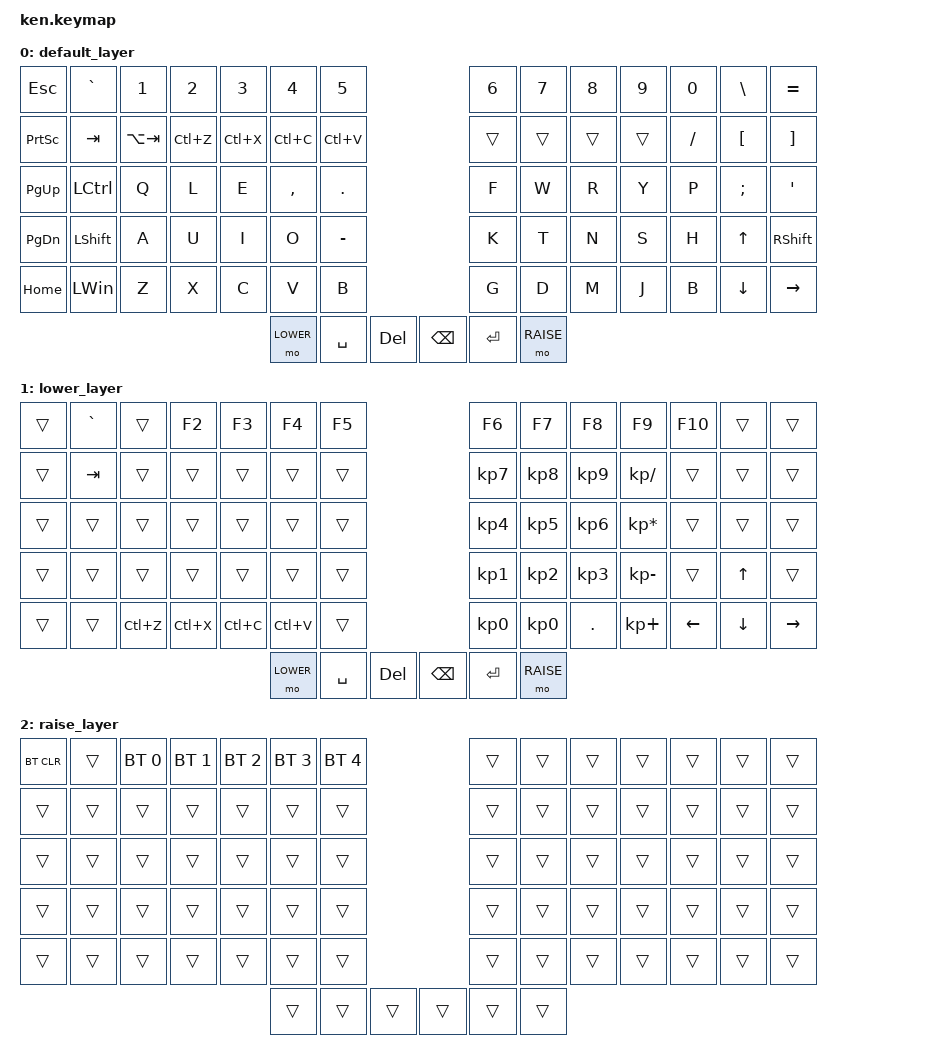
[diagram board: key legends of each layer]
#include <behaviors.dtsi>
#include <dt-bindings/zmk/bt.h>
#include <dt-bindings/zmk/keys.h>
#include <dt-bindings/zmk/ext_power.h>
#include <dt-bindings/zmk/outputs.h>

#define DEFAULT 0
#define LOWER  1
#define RAISE  2

/ {
       keymap {
              compatible = "zmk,keymap";

  default_layer {

       bindings = <
                     &kp ESC    &kp GRAVE &kp N1      &kp N2    &kp N3     &kp N4     &kp N5                         &kp N6    &kp N7    &kp N8     &kp N9     &kp N0    &kp BSLH     &kp EQUAL   
                     &kp PSCRN  &kp TAB   &kp LA(TAB) &kp LC(Z) &kp LC(X)  &kp LC(C)  &kp LC(V)                      &trans    &trans    &trans     &trans     &kp SLASH &kp LBKT     &kp RBKT
                     &kp PG_UP  &kp LCTRL &kp Q       &kp L     &kp E      &kp COMMA  &kp PERIOD                     &kp F     &kp W     &kp R      &kp Y      &kp P     &kp SEMI     &kp APOS    
                     &kp PG_DN  &kp LSHFT &kp A       &kp U     &kp I      &kp O      &kp MINUS                      &kp K     &kp T     &kp N      &kp S      &kp H     &kp UP       &kp RSHFT
                     &kp HOME   &kp LWIN  &kp Z       &kp X     &kp C      &kp V      &kp B                          &kp G     &kp D     &kp M      &kp J      &kp B     &kp DOWN     &kp RIGHT 
                                                                           &mo LOWER  &kp SPACE  &kp DEL   &kp BSPC  &kp ENTER  &mo RAISE
            >;
          };


// default_layer {
//
//
//               bindings = <
//                   &kp ESC    &kp GRAVE &kp N1      &kp N2    &kp N3     &kp N4     &kp N5                         &kp N6    &kp N7    &kp N8     &kp N9     &kp N0    &kp BSLH     &kp EQUAL   
//                   &kp PSCRN  &kp TAB   &kp LA(TAB) &kp LC(Z) &kp LC(X)  &kp LC(C)  &kp LC(V)                      &kp RALT  &trans    &trans     &kp MINUS  &kp MINUS &kp LBKT     &kp RBKT
//                   &kp PG_UP  &kp LCTRL &kp Q       &kp W     &kp E      &kp R      &kp T                          &kp Y     &kp U     &kp I      &kp O      &kp P     &kp SEMI     &kp APOS    
//                   &kp PG_DN  &kp LSHFT &kp A       &kp S     &kp D      &kp F      &kp G                          &kp H     &kp J     &kp K      &kp L      &kp SLASH &kp UP       &kp RSHFT
//                   &kp HOME   &kp LWIN  &kp Z       &kp X     &kp C      &kp V      &kp B                          &kp N     &kp M     &kp COMMA  &kp PERIOD &kp LEFT  &kp DOWN     &kp RIGHT 
//                                                                         &kp DEL    &kp SPACE  &mo LOWER    &mo RAISE  &kp ENTER  &kp BSPC
//          >;
//        };

 //            default_layer {
 //
 //
 //                bindings = <
 //                    &kp ESC    &kp GRAVE &kp N1      &kp N2    &kp N3     &kp N4     &kp N5                         &kp N6    &kp N7    &kp N8     &kp N9     &kp N0    &kp BSLH     &kp EQUAL   
 //                    &kp PSCRN  &kp TAB   &kp LA(TAB) &kp LC(Z) &kp LC(X)  &kp LC(C)  &kp LC(V)                      &trans    &trans    &trans     &trans     &kp SLASH &kp LBKT     &kp RBKT
 //                    &kp PG_UP  &kp LCTRL &kp Q       &kp L     &kp U      &kp COMMA  &kp PERIOD                     &kp F     &kp W     &kp R      &kp Y      &kp P     &kp SEMI     &kp APOS    
 //                    &kp PG_DN  &kp LSHFT &kp E       &kp I     &kp A      &kp O      &kp MINUS                      &kp K     &kp T     &kp N      &kp S      &kp H     &kp UP       &kp RSHFT
 //                    &kp HOME   &kp LWIN  &kp Z       &kp X     &kp C      &kp V      &kp B                          &kp G     &kp D     &kp M      &kp J      &kp B     &kp DOWN     &kp RIGHT 
 //                                                                          &mo LOWER  &kp DEL  &kp SPACE       &kp BSPC  &kp ENTER  &mo RAISE
 //           >;
 //         };

              lower_layer {
             bindings = <
                     &trans  &kp GRAVE  &trans    &kp F2    &kp F3    &kp F4     &kp F5                         &kp F6    &kp F7    &kp F8     &kp F9             &kp F10   &trans   &trans
                     &trans  &kp TAB    &trans    &trans    &trans    &trans     &trans                         &kp KP_N7 &kp KP_N8 &kp KP_N9  &kp KP_SLASH       &trans    &trans   &trans
                     &trans  &trans     &trans    &trans    &trans    &trans     &trans                         &kp KP_N4 &kp KP_N5 &kp KP_N6  &kp KP_ASTERISK    &trans    &trans   &trans 
                     &trans  &trans     &trans    &trans    &trans    &trans     &trans                         &kp KP_N1 &kp KP_N2 &kp KP_N3  &kp KP_MINUS       &trans    &kp UP   &trans
                     &trans  &trans     &kp LC(Z) &kp LC(X) &kp LC(C) &kp LC(V)  &trans                         &kp KP_N0 &kp KP_N0 &kp PERIOD &kp KP_PLUS        &kp LEFT  &kp DOWN &kp RIGHT
                                                                      &mo LOWER  &kp SPACE  &kp DEL   &kp BSPC  &kp ENTER  &mo RAISE
           >;

         };

              raise_layer {
             bindings = <
                &bt BT_CLR  &trans        &bt BT_SEL 0  &bt BT_SEL 1  &bt BT_SEL 2  &bt BT_SEL 3 &bt BT_SEL 4                     &trans    &trans    &trans     &trans     &trans    &trans   &trans
                &trans      &trans        &trans        &trans        &trans        &trans       &trans                           &trans    &trans    &trans     &trans     &trans    &trans   &trans
                &trans      &trans        &trans        &trans        &trans        &trans       &trans                           &trans    &trans    &trans     &trans     &trans    &trans   &trans 
                &trans      &trans        &trans        &trans        &trans        &trans       &trans                           &trans    &trans    &trans     &trans     &trans    &trans   &trans
                &trans      &trans        &trans        &trans        &trans        &trans       &trans                           &trans    &trans    &trans     &trans     &trans    &trans   &trans
                                                                                    &trans       &trans   &trans        &trans    &trans    &trans
           >;

         };
     };
};
